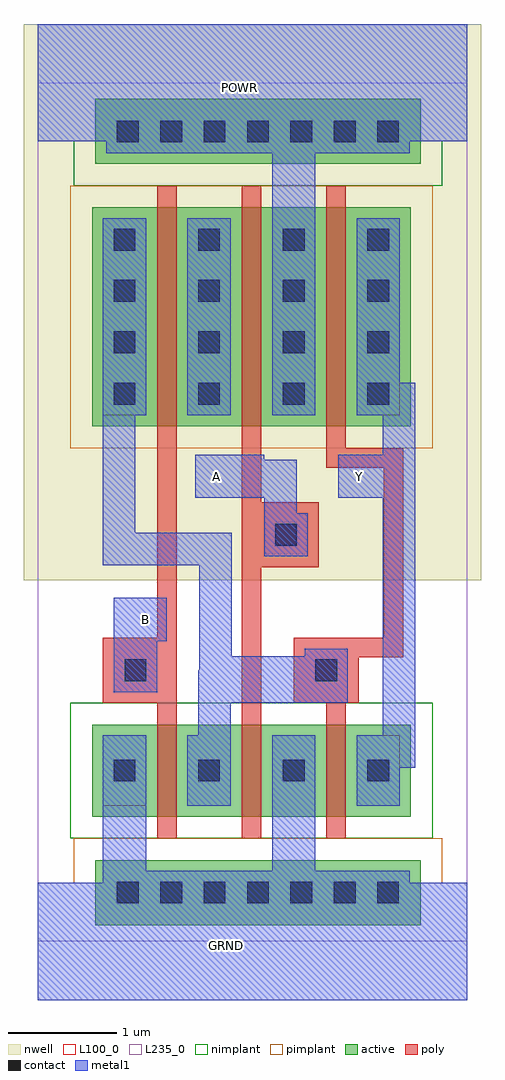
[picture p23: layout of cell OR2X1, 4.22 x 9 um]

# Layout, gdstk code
import gdstk
lib = gdstk.Library(unit=1e-6, precision=1e-09)
def R(c, l, rs):  # rectangles x0, y0, x1, y1
    for r in rs: c.add(gdstk.rectangle(r[:2], r[2:], *l))
def A(c, l, x, y, w, h, nx, ny, dx, dy):  # array of equal rectangles
    R(c, l, [(x+i*dx, y+j*dy, x+i*dx+w, y+j*dy+h) for i in range(nx) for j in range(ny)])
def P(c, l, *ps):  # polygons
    for p in ps: c.add(gdstk.Polygon(p, *l))
active = (1, 0)
nwell = (2, 0)
poly = (3, 0)
nimplant = (4, 0)
pimplant = (5, 0)
contact = (6, 0)
metal1 = (7, 0)
L100_0 = (100, 0)
L235_0 = (235, 0)

or2x1 = lib.new_cell('OR2X1')
A(or2x1, active, 0.5, 1.15, 0.6, 0.85, 4, 1, 0.78, 0)
A(or2x1, active, 1.1, 1.15, 0.18, 0.85, 3, 1, 0.78, 0)
A(or2x1, active, 0.5, 4.75, 0.6, 2.02, 4, 1, 0.78, 0)
A(or2x1, active, 1.1, 4.75, 0.18, 2.02, 3, 1, 0.78, 0)
R(or2x1, active, [(0.53,0.15,3.53,0.75), (0.53,7.17,3.53,7.77)])
R(or2x1, nwell, [(-0.13,3.33,4.09,8.46)])
A(or2x1, poly, 1.1, 0.95, 0.18, 0.2, 3, 2, 0.78, 1.05)
A(or2x1, poly, 1.1, 0.95, 0.18, 1.25, 3, 1, 0.78, 0)
A(or2x1, poly, 1.1, 4.55, 0.18, 0.2, 3, 2, 0.78, 2.22)
A(or2x1, poly, 1.1, 4.55, 0.18, 2.42, 3, 1, 0.78, 0)
R(or2x1, poly, [(2.36,2.2,2.96,2.8), (1.99,3.45,2.59,4.05)])
P(or2x1, poly, [(1.28,4.57),(1.1,4.57),(1.1,2.8),(0.6,2.8),(0.6,2.2),(1.1,2.2),(1.1,2.17),(1.28,2.17)])
R(or2x1, nimplant, [(0.3,0.95,3.64,2.2)])
P(or2x1, nimplant, [(3.96,8.46),(0,8.46),(0,7.38),(0.33,7.38),(0.33,6.97),(3.73,6.97),(3.73,7.38),(3.96,7.38)])
R(or2x1, pimplant, [(0.3,4.55,3.64,6.97)])
P(or2x1, pimplant, [(3.96,0.54),(3.73,0.54),(3.73,0.95),(0.33,0.95),(0.33,0.54),(0,0.54),(0,-0.54),(3.96,-0.54)])
A(or2x1, contact, 0.73, 0.35, 0.2, 0.2, 7, 2, 0.4, 7.02)
A(or2x1, contact, 0.7, 1.475, 0.2, 0.2, 4, 2, 0.78, 3.475)
A(or2x1, contact, 0.7, 5.425, 0.2, 0.2, 4, 2, 0.78, 0.475)
A(or2x1, contact, 0.7, 6.37, 0.2, 0.2, 4, 1, 0.78, 0)
R(or2x1, contact, [(0.8,2.4,1,2.6), (2.56,2.4,2.76,2.6), (2.19,3.65,2.39,3.85)])
R(or2x1, metal1, [(0,-0.54,3.96,0.54), (3.18,1.6,3.48,5.15), (0.7,2.3,1.1,3.17), (2.46,2.3,2.86,2.7), (0.78,2.77,1.19,3.17), (0.84,2.82,1.14,3.12), (2.09,3.55,2.49,3.95), (1.45,4.09,2.09,4.49), (2.77,4.09,3.23,4.49), (1.5,4.14,1.8,4.44), (2.82,4.14,3.12,4.44), (0,7.38,3.96,8.46)])
P(or2x1, metal1, [(3.43,7.67),(0.63,7.67),(0.63,7.27),(2.16,7.27),(2.16,6.67),(2.56,6.67),(2.56,7.27),(3.43,7.27)],
  [(3.43,0.65),(2.56,0.65),(2.56,1.9),(2.16,1.9),(2.16,0.65),(1,0.65),(1,1.9),(0.6,1.9),(0.6,0.54),(0.63,0.54),(0.63,0.25),(3.43,0.25)])
R(or2x1, L100_0, [(0.6,1.25,1,1.9), (2.94,1.25,3.34,1.9), (0.6,4.85,1,6.67), (2.94,4.85,3.34,6.67)])
R(or2x1, L235_0, [(0,0,3.96,7.92)])
or2x1.add(gdstk.FlexPath([(1.97,4.56),(1.97,2.13)], 0.18, ends="flush", simple_path=True, layer=3, datatype=0))  # poly
or2x1.add(gdstk.FlexPath([(2.75,4.56),(2.75,4.46),(3.28,4.46),(3.28,2.71),(2.93,2.71)], 0.18, ends="flush", simple_path=True, layer=3, datatype=0))  # poly
or2x1.add(gdstk.FlexPath([(2.24,3.84),(2.24,4.29),(1.51,4.29)], 0.3, ends="flush", simple_path=True, layer=7, datatype=0))  # metal1
or2x1.add(gdstk.FlexPath([(1.63,1.85),(1.63,2.35),(2.86,2.35)], 0.3, ends="flush", simple_path=True, layer=7, datatype=0))  # metal1
or2x1.add(gdstk.FlexPath([(1.58,1.25),(1.58,1.9)], 0.4, ends="flush", simple_path=True, layer=7, datatype=0))  # metal1
or2x1.add(gdstk.FlexPath([(3.14,1.25),(3.14,1.9)], 0.4, ends="flush", simple_path=True, layer=7, datatype=0))  # metal1
or2x1.add(gdstk.FlexPath([(0.8,4.85),(0.8,6.67)], 0.4, ends="flush", simple_path=True, layer=7, datatype=0))  # metal1
or2x1.add(gdstk.FlexPath([(1.58,4.85),(1.58,6.67)], 0.4, ends="flush", simple_path=True, layer=7, datatype=0))  # metal1
or2x1.add(gdstk.FlexPath([(2.36,4.85),(2.36,6.67)], 0.4, ends="flush", simple_path=True, layer=7, datatype=0))  # metal1
or2x1.add(gdstk.FlexPath([(3.14,4.85),(3.14,6.67)], 0.4, ends="flush", simple_path=True, layer=7, datatype=0))  # metal1
or2x1.add(gdstk.FlexPath([(0.75,4.85),(0.75,3.62),(1.64,3.62),(1.64,2.48),(2.51,2.48)], 0.3, ends="flush", simple_path=True, layer=7, datatype=0))  # metal1
or2x1.add(gdstk.Label('A', (1.65,4.29), layer=230, texttype=0))
or2x1.add(gdstk.Label('B', (0.99,2.97), layer=230, texttype=0))
or2x1.add(gdstk.Label('Y', (2.97,4.29), layer=230, texttype=0))
or2x1.add(gdstk.Label('GRND', (1.74,-0.04), layer=230, texttype=0))
or2x1.add(gdstk.Label('POWR', (1.86,7.87), layer=230, texttype=0))

lib.write_gds('OR2X1.gds')
